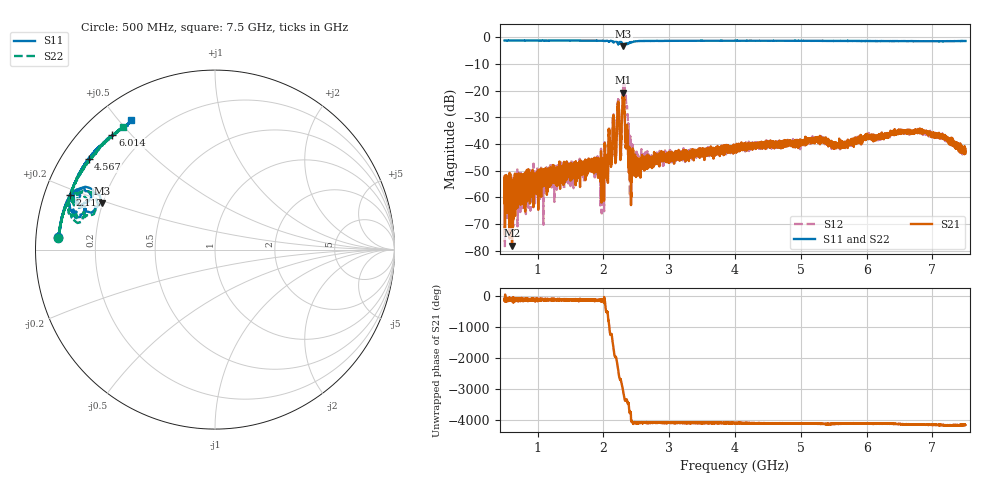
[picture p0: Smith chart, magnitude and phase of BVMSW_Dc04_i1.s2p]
!Keysight Technologies,M9374A,MY55442783,A.12.55.05
!Date: Thursday, May 20, 2021 17:54:45
!Correction: S11(Full 2 Port(1,2))
!S21(Full 2 Port(1,2))
!S12(Full 2 Port(1,2))
!S22(Full 2 Port(1,2))
!S2P File: Measurements: S11, S21, S12, S22:
# Hz S  RI  R 50
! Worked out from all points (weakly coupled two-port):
!   7001 points, 500 MHz to 7.5 GHz, reference 50 ohm
!   highest |S21| = -20.75 dB at 2.303 GHz (marker M1); lowest = -78.1 dB at 613 MHz (marker M2)
!   lowest |S11| = -3.3 dB at 2.304 GHz (marker M3), VSWR 5.28, Z = 9.83 + j9.44 ohm
!   |S11| at or under -10 dB: nowhere
!   |S22| runs from -3.2 to -1.1 dB; largest |S21 - S12| = 0.084
!   S11 on the Smith chart (normalised r, x): 500 MHz: 0.07, +0.04; 2.117 GHz: 0.08, +0.18; 4.567 GHz: 0.08, +0.32; 6.014 GHz: 0.09, +0.44; 7.5 GHz: 0.10, +0.54
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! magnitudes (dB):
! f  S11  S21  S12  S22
! 500 MHz  -1.1  -62.0  -56.5  -1.2
! 613 MHz  -1.2  -78.1  -56.4  -1.2
! 1.667 GHz  -1.2  -47.9  -49.0  -1.2
! 1.98 GHz  -1.2  -48.5  -49.5  -1.3
! 2.039 GHz  -1.3  -44.1  -44.4  -1.3
! 2.117 GHz  -1.3  -47.0  -46.7  -1.3
! 2.267 GHz  -1.6  -40.8  -43.3  -1.6
! 2.303 GHz  -3.3  -20.7  -18.4  -3.1
! 2.304 GHz  -3.3  -21.3  -18.7  -3.2
! 2.337 GHz  -2.4  -38.4  -22.0  -2.4
! 2.358 GHz  -2.5  -34.6  -26.1  -2.5
! 2.408 GHz  -1.9  -46.7  -42.8  -2.0
! 2.505 GHz  -1.5  -46.5  -45.3  -1.5
! 2.834 GHz  -1.3  -46.6  -44.7  -1.3
! 4 GHz  -1.2  -42.3  -41.6  -1.3
! 4.567 GHz  -1.3  -40.3  -40.3  -1.3
! 5.167 GHz  -1.3  -39.1  -38.8  -1.3
! 5.531 GHz  -1.3  -40.5  -41.0  -1.4
! 6.014 GHz  -1.3  -37.4  -37.0  -1.3
! 6.334 GHz  -1.4  -36.2  -37.0  -1.3
! 6.888 GHz  -1.4  -35.8  -36.4  -1.4
! 7.5 GHz  -1.3  -43.5  -42.4  -1.4
